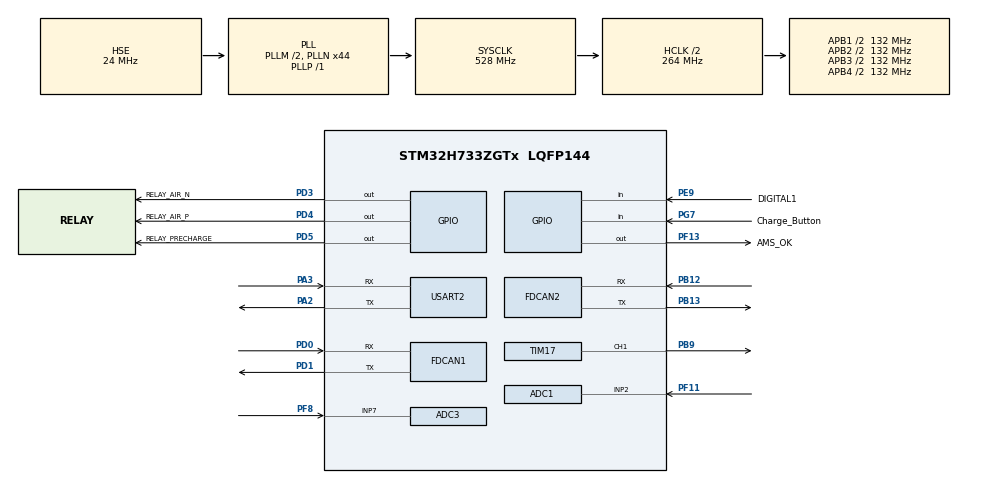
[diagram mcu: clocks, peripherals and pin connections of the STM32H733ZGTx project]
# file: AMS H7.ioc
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ADC1.Channel-1\#ChannelRegularConversion=ADC_CHANNEL_2
ADC1.NbrOfConversion=1
ADC1.NbrOfConversionFlag=1
ADC1.OffsetNumber-1\#ChannelRegularConversion=ADC_OFFSET_NONE
ADC1.OffsetSignedSaturation-1\#ChannelRegularConversion=DISABLE
ADC1.OversamplingMode=ENABLE
ADC1.Rank-1\#ChannelRegularConversion=1
ADC1.Ratio=64
ADC1.Resolution=ADC_RESOLUTION_12B
ADC1.RightBitShift=ADC_RIGHTBITSHIFT_6
ADC1.SamplingTime-1\#ChannelRegularConversion=ADC_SAMPLETIME_1CYCLE_5
ADC1.master=1
ADC3.Channel-2\#ChannelRegularConversion=ADC_CHANNEL_7
ADC3.NbrOfConversionFlag=1
ADC3.OffsetNumber-2\#ChannelRegularConversion=ADC_OFFSET_NONE
ADC3.OffsetSign-2\#ChannelRegularConversion=ADC3_OFFSET_SIGN_NEGATIVE
ADC3.Rank-2\#ChannelRegularConversion=1
ADC3.ResolutionADC3=ADC_RESOLUTION_10B
ADC3.SamplingTime-2\#ChannelRegularConversion=ADC3_SAMPLETIME_2CYCLES_5
FDCAN1.CalculateBaudRateNominal=500000
FDCAN1.CalculateTimeBitNominal=2000
FDCAN1.CalculateTimeQuantumNominal=125.0
FDCAN1.ExtFiltersNbr=5
FDCAN1.FrameFormat=FDCAN_FRAME_FD_NO_BRS
FDCAN1.NominalPrescaler=3
FDCAN1.NominalTimeSeg1=10
FDCAN1.NominalTimeSeg2=5
FDCAN1.RxBuffersNbr=1
FDCAN1.RxFifo0ElmtsNbr=32
FDCAN1.RxFifo1ElmtsNbr=32
FDCAN1.StdFiltersNbr=0
FDCAN1.TxBuffersNbr=32
FDCAN1.TxEventsNbr=1
FDCAN1.TxFifoQueueElmtsNbr=32
FDCAN2.CalculateBaudRateNominal=500000
FDCAN2.CalculateTimeBitNominal=2000
FDCAN2.CalculateTimeQuantumNominal=125.0
FDCAN2.ExtFiltersNbr=5
FDCAN2.FrameFormat=FDCAN_FRAME_FD_NO_BRS
FDCAN2.NominalPrescaler=3
FDCAN2.NominalTimeSeg1=10
FDCAN2.NominalTimeSeg2=5
FDCAN2.RxBuffersNbr=1
FDCAN2.RxFifo0ElmtsNbr=32
FDCAN2.RxFifo1ElmtsNbr=32
FDCAN2.StdFiltersNbr=0
FDCAN2.TxBuffersNbr=32
FDCAN2.TxEventsNbr=1
FDCAN2.TxFifoQueueElmtsNbr=32
Mcu.Family=STM32H7
Mcu.Name=STM32H733ZGTx
Mcu.Package=LQFP144
NVIC.FDCAN1_IT0_IRQn=true\:0\:0\:false\:false\:true\:true\:true\:true
NVIC.PriorityGroup=NVIC_PRIORITYGROUP_4
PA2.Mode=Asynchronous
PA2.Signal=USART2_TX
PA3.Mode=Asynchronous
PA3.Signal=USART2_RX
PB12.Mode=FDCAN_Activate
PB12.Signal=FDCAN2_RX
PB13.Mode=FDCAN_Activate
PB13.Signal=FDCAN2_TX
PB9.Signal=S_TIM17_CH1
PD0.Mode=FDCAN_Activate
PD0.Signal=FDCAN1_RX
PD1.Mode=FDCAN_Activate
PD1.Signal=FDCAN1_TX
PD3.GPIO_Label=RELAY_AIR_N
PD3.Signal=GPIO_Output
PD4.GPIO_Label=RELAY_AIR_P
PD4.Signal=GPIO_Output
PD5.GPIO_Label=RELAY_PRECHARGE
PD5.Signal=GPIO_Output
PE9.GPIO_Label=DIGITAL1
PE9.Signal=GPIO_Input
PF11.Mode=IN2-Single-Ended
PF11.Signal=ADC1_INP2
PF13.GPIO_Label=AMS_OK
PF13.Signal=GPIO_Output
PF8.Mode=IN7-Single-Ended
PF8.Signal=ADC3_INP7
PG7.GPIO_Label=Charge_Button
PG7.Signal=GPIO_Input
PH0-OSC_IN.Mode=HSE-External-Oscillator
PH0-OSC_IN.Signal=RCC_OSC_IN
PH1-OSC_OUT.Mode=HSE-External-Oscillator
PH1-OSC_OUT.Signal=RCC_OSC_OUT
ProjectManager.HeapSize=0x200
ProjectManager.StackSize=0x400
ProjectManager.TargetToolchain=STM32CubeIDE
RCC.ADCFreq_Value=96000000
RCC.APB1Freq_Value=132000000
RCC.APB2Freq_Value=132000000
RCC.APB3Freq_Value=132000000
RCC.APB4Freq_Value=132000000
RCC.CortexFreq_Value=528000000
RCC.D1PPRE=RCC_APB3_DIV2
RCC.D2PPRE1=RCC_APB1_DIV2
RCC.D2PPRE2=RCC_APB2_DIV2
RCC.D3PPRE=RCC_APB4_DIV2
RCC.DIVM1=2
RCC.DIVM2=2
RCC.DIVN1=44
RCC.DIVN2=16
RCC.DIVP1=1
RCC.DIVQ1=4
RCC.FDCANCLockSelection=RCC_FDCANCLKSOURCE_HSE
RCC.HCLKFreq_Value=264000000
RCC.HPRE=RCC_HCLK_DIV2
RCC.HSE_VALUE=24000000
RCC.PLL2FRACN=0
RCC.PLLFRACN=0
RCC.PLLSourceVirtual=RCC_PLLSOURCE_HSE
RCC.SYSCLKFreq_VALUE=528000000
RCC.SYSCLKSource=RCC_SYSCLKSOURCE_PLLCLK
RCC.USBFreq_Value=132000000
SH.S_TIM17_CH1.0=TIM17_CH1,PWM Generation1 CH1
TIM17.AutoReloadPreload=TIM_AUTORELOAD_PRELOAD_ENABLE
TIM17.Channel=TIM_CHANNEL_1
TIM17.Period=10559
USART2.VirtualMode-Asynchronous=VM_ASYNC
VP_MEMORYMAP_VS_MEMORYMAP.Mode=CurAppReg
VP_TIM17_VS_ClockSourceINT.Mode=Enable_Timer
board=custom

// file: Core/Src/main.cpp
/* USER CODE BEGIN Header */
/**
  ******************************************************************************
  * @file           : main.c
  * @brief          : Main program body
  ******************************************************************************
  * @attention
  *
  * Copyright (c) 2024 STMicroelectronics.
  * All rights reserved.
  *
  * This software is licensed under terms that can be found in the LICENSE file
  * in the root directory of this software component.
  * If no LICENSE file comes with this software, it is provided AS-IS.
  *
  ******************************************************************************
  */
/* USER CODE END Header */
#include "main.h"

/* USER CODE BEGIN Includes */
#include "module_state_machine.h"
#include <stdio.h>
#include <string.h>
#include <stdlib.h>
/* USER CODE END Includes */

ADC_HandleTypeDef hadc1;
ADC_HandleTypeDef hadc3;

FDCAN_HandleTypeDef hfdcan1;
FDCAN_HandleTypeDef hfdcan2;

TIM_HandleTypeDef htim17;

UART_HandleTypeDef huart2;

/* USER CODE BEGIN PV */
//hfdcan1 Acumulator
//hfdcan2 BMS

FDCAN_TxHeaderTypeDef TxHeader_acu;
FDCAN_TxHeaderTypeDef TxHeader_bms;

FDCAN_RxHeaderTypeDef RxHeader_acu;
FDCAN_RxHeaderTypeDef RxHeader_bms;

uint8_t RxData[8];

char uart_msg[100];

int cellAux[38];
/* USER CODE END PV */

void SystemClock_Config(void);
void PeriphCommonClock_Config(void);
static void MX_GPIO_Init(void);
static void MX_FDCAN2_Init(void);
static void MX_FDCAN1_Init(void);
static void MX_USART2_UART_Init(void);
static void MX_ADC1_Init(void);
static void MX_ADC3_Init(void);
static void MX_TIM17_Init(void);

/* USER CODE BEGIN 0 */

struct CANMsg msg_bms, msg_acu;

/* USER CODE END 0 */

int main(void)
{

  /* MCU Configuration--------------------------------------------------------*/

  /* Reset of all peripherals, Initializes the Flash interface and the Systick. */
  HAL_Init();

  /* Configure the system clock */
  SystemClock_Config();

  /* Configure the peripherals common clocks */
  PeriphCommonClock_Config();

  /* Initialize all configured peripherals */
  MX_GPIO_Init();
  MX_FDCAN2_Init();
  MX_FDCAN1_Init();
  MX_USART2_UART_Init();
  MX_ADC1_Init();
  MX_ADC3_Init();
  MX_TIM17_Init();
  /* USER CODE BEGIN 2 */

  HAL_TIM_PWM_Start(&htim17, TIM_CHANNEL_1);

  if (HAL_FDCAN_Start(&hfdcan1) == HAL_OK){
	  print((char*)"CAN_ACU iniciado");
  }
  if (HAL_FDCAN_ActivateNotification(&hfdcan1, FDCAN_IT_RX_FIFO0_NEW_MESSAGE, 0) == HAL_OK)
  {
	  print((char*)"CAN_ACU notification");
  }

  if (HAL_FDCAN_Start(&hfdcan2) == HAL_OK){
	  print((char*)"CAN_BMS iniciado");
  }

  if(HAL_ADC_Start(&hadc3) == HAL_OK){
	  print((char*)"ADC iniciado");
  }

  //HAL_GPIO_WritePin(FANS_GPIO_Port, FANS_Pin, GPIO_PIN_SET);
  //HAL_GPIO_WritePin(A1_GPIO_Port, A1_Pin, GPIO_PIN_RESET);

  //setup_state_machine();

  /* USER CODE END 2 */

  /* Infinite loop */
  /* USER CODE BEGIN WHILE */
  while (1)
  {
	  select_state();

	  /*if (HAL_FDCAN_GetRxMessage(&hfdcan1, FDCAN_RX_FIFO0, &RxHeader_acu, RxData) == HAL_OK) {
		  msg_acu.id = RxHeader_acu.Identifier;
		  msg_acu.len = RxHeader_acu.DataLength;
		  for (int i = 0; i < 8; i++) {msg_acu.buf[i] = RxData[i];}
		  msg_acu.bus = 1;
		  msg_acu.time = HAL_GetTick();
		  parse_state(msg_acu);
	  }*/

	  if (HAL_FDCAN_GetRxMessage(&hfdcan2, FDCAN_RX_FIFO0, &RxHeader_bms, RxData) == HAL_OK) {

		  msg_bms.id = RxHeader_bms.Identifier;
		  msg_bms.len = RxHeader_bms.DataLength;
		  for (int i = 0; i < 8; i++) {msg_bms.buf[i] = RxData[i];}
		  msg_bms.bus = 2;
		  msg_bms.time = HAL_GetTick();

		  parse_state(msg_bms);
	  }
    /* USER CODE END WHILE */

  }
}

void SystemClock_Config(void)
{
  RCC_OscInitTypeDef RCC_OscInitStruct = {0};
  RCC_ClkInitTypeDef RCC_ClkInitStruct = {0};

  /** Supply configuration update enable
  */
  HAL_PWREx_ConfigSupply(PWR_LDO_SUPPLY);

  /** Configure the main internal regulator output voltage
  */
  __HAL_PWR_VOLTAGESCALING_CONFIG(PWR_REGULATOR_VOLTAGE_SCALE0);

  while(!__HAL_PWR_GET_FLAG(PWR_FLAG_VOSRDY)) {}

  /** Initializes the RCC Oscillators according to the specified parameters
  * in the RCC_OscInitTypeDef structure.
  */
  RCC_OscInitStruct.OscillatorType = RCC_OSCILLATORTYPE_HSE;
  RCC_OscInitStruct.HSEState = RCC_HSE_ON;
  RCC_OscInitStruct.PLL.PLLState = RCC_PLL_ON;
  RCC_OscInitStruct.PLL.PLLSource = RCC_PLLSOURCE_HSE;
  RCC_OscInitStruct.PLL.PLLM = 2;
  RCC_OscInitStruct.PLL.PLLN = 44;
  RCC_OscInitStruct.PLL.PLLP = 1;
  RCC_OscInitStruct.PLL.PLLQ = 4;
  RCC_OscInitStruct.PLL.PLLR = 2;
  RCC_OscInitStruct.PLL.PLLRGE = RCC_PLL1VCIRANGE_3;
  RCC_OscInitStruct.PLL.PLLVCOSEL = RCC_PLL1VCOWIDE;
  RCC_OscInitStruct.PLL.PLLFRACN = 0;
  if (HAL_RCC_OscConfig(&RCC_OscInitStruct) != HAL_OK)
  {
    Error_Handler();
  }

  /** Initializes the CPU, AHB and APB buses clocks
  */
  RCC_ClkInitStruct.ClockType = RCC_CLOCKTYPE_HCLK|RCC_CLOCKTYPE_SYSCLK
                              |RCC_CLOCKTYPE_PCLK1|RCC_CLOCKTYPE_PCLK2
                              |RCC_CLOCKTYPE_D3PCLK1|RCC_CLOCKTYPE_D1PCLK1;
  RCC_ClkInitStruct.SYSCLKSource = RCC_SYSCLKSOURCE_PLLCLK;
  RCC_ClkInitStruct.SYSCLKDivider = RCC_SYSCLK_DIV1;
  RCC_ClkInitStruct.AHBCLKDivider = RCC_HCLK_DIV2;
  RCC_ClkInitStruct.APB3CLKDivider = RCC_APB3_DIV2;
  RCC_ClkInitStruct.APB1CLKDivider = RCC_APB1_DIV2;
  RCC_ClkInitStruct.APB2CLKDivider = RCC_APB2_DIV2;
  RCC_ClkInitStruct.APB4CLKDivider = RCC_APB4_DIV2;

  if (HAL_RCC_ClockConfig(&RCC_ClkInitStruct, FLASH_LATENCY_3) != HAL_OK)
  {
    Error_Handler();
  }
}

void PeriphCommonClock_Config(void)
{
  RCC_PeriphCLKInitTypeDef PeriphClkInitStruct = {0};

  /** Initializes the peripherals clock
  */
  PeriphClkInitStruct.PeriphClockSelection = RCC_PERIPHCLK_ADC;
  PeriphClkInitStruct.PLL2.PLL2M = 2;
  PeriphClkInitStruct.PLL2.PLL2N = 16;
  PeriphClkInitStruct.PLL2.PLL2P = 2;
  PeriphClkInitStruct.PLL2.PLL2Q = 2;
  PeriphClkInitStruct.PLL2.PLL2R = 2;
  PeriphClkInitStruct.PLL2.PLL2RGE = RCC_PLL2VCIRANGE_3;
  PeriphClkInitStruct.PLL2.PLL2VCOSEL = RCC_PLL2VCOWIDE;
  PeriphClkInitStruct.PLL2.PLL2FRACN = 0;
  PeriphClkInitStruct.AdcClockSelection = RCC_ADCCLKSOURCE_PLL2;
  if (HAL_RCCEx_PeriphCLKConfig(&PeriphClkInitStruct) != HAL_OK)
  {
    Error_Handler();
  }
}

static void MX_ADC1_Init(void)
{

  ADC_MultiModeTypeDef multimode = {0};
  ADC_ChannelConfTypeDef sConfig = {0};

  /** Common config
  */
  hadc1.Instance = ADC1;
  hadc1.Init.ClockPrescaler = ADC_CLOCK_ASYNC_DIV1;
  hadc1.Init.Resolution = ADC_RESOLUTION_12B;
  hadc1.Init.ScanConvMode = ADC_SCAN_DISABLE;
  hadc1.Init.EOCSelection = ADC_EOC_SINGLE_CONV;
  hadc1.Init.LowPowerAutoWait = DISABLE;
  hadc1.Init.ContinuousConvMode = DISABLE;
  hadc1.Init.NbrOfConversion = 1;
  hadc1.Init.DiscontinuousConvMode = DISABLE;
  hadc1.Init.ExternalTrigConv = ADC_SOFTWARE_START;
  hadc1.Init.ExternalTrigConvEdge = ADC_EXTERNALTRIGCONVEDGE_NONE;
  hadc1.Init.ConversionDataManagement = ADC_CONVERSIONDATA_DR;
  hadc1.Init.Overrun = ADC_OVR_DATA_PRESERVED;
  hadc1.Init.LeftBitShift = ADC_LEFTBITSHIFT_NONE;
  hadc1.Init.OversamplingMode = ENABLE;
  hadc1.Init.Oversampling.Ratio = 64;
  hadc1.Init.Oversampling.RightBitShift = ADC_RIGHTBITSHIFT_6;
  hadc1.Init.Oversampling.TriggeredMode = ADC_TRIGGEREDMODE_SINGLE_TRIGGER;
  hadc1.Init.Oversampling.OversamplingStopReset = ADC_REGOVERSAMPLING_CONTINUED_MODE;
  if (HAL_ADC_Init(&hadc1) != HAL_OK)
  {
    Error_Handler();
  }

  /** Configure the ADC multi-mode
  */
  multimode.Mode = ADC_MODE_INDEPENDENT;
  if (HAL_ADCEx_MultiModeConfigChannel(&hadc1, &multimode) != HAL_OK)
  {
    Error_Handler();
  }

  /** Configure Regular Channel
  */
  sConfig.Channel = ADC_CHANNEL_2;
  sConfig.Rank = ADC_REGULAR_RANK_1;
  sConfig.SamplingTime = ADC_SAMPLETIME_1CYCLE_5;
  sConfig.SingleDiff = ADC_SINGLE_ENDED;
  sConfig.OffsetNumber = ADC_OFFSET_NONE;
  sConfig.Offset = 0;
  sConfig.OffsetSignedSaturation = DISABLE;
  if (HAL_ADC_ConfigChannel(&hadc1, &sConfig) != HAL_OK)
  {
    Error_Handler();
  }

}

static void MX_ADC3_Init(void)
{

  ADC_ChannelConfTypeDef sConfig = {0};

  /** Common config
  */
  hadc3.Instance = ADC3;
  hadc3.Init.ClockPrescaler = ADC_CLOCK_ASYNC_DIV1;
  hadc3.Init.Resolution = ADC_RESOLUTION_10B;
  hadc3.Init.DataAlign = ADC3_DATAALIGN_RIGHT;
  hadc3.Init.ScanConvMode = ADC_SCAN_DISABLE;
  hadc3.Init.EOCSelection = ADC_EOC_SINGLE_CONV;
  hadc3.Init.LowPowerAutoWait = DISABLE;
  hadc3.Init.ContinuousConvMode = DISABLE;
  hadc3.Init.NbrOfConversion = 1;
  hadc3.Init.DiscontinuousConvMode = DISABLE;
  hadc3.Init.ExternalTrigConv = ADC_SOFTWARE_START;
  hadc3.Init.ExternalTrigConvEdge = ADC_EXTERNALTRIGCONVEDGE_NONE;
  hadc3.Init.DMAContinuousRequests = DISABLE;
  hadc3.Init.SamplingMode = ADC_SAMPLING_MODE_NORMAL;
  hadc3.Init.ConversionDataManagement = ADC_CONVERSIONDATA_DR;
  hadc3.Init.Overrun = ADC_OVR_DATA_PRESERVED;
  hadc3.Init.LeftBitShift = ADC_LEFTBITSHIFT_NONE;
  hadc3.Init.OversamplingMode = DISABLE;
  hadc3.Init.Oversampling.Ratio = ADC3_OVERSAMPLING_RATIO_2;
  if (HAL_ADC_Init(&hadc3) != HAL_OK)
  {
    Error_Handler();
  }

  /** Configure Regular Channel
  */
  sConfig.Channel = ADC_CHANNEL_7;
  sConfig.Rank = ADC_REGULAR_RANK_1;
  sConfig.SamplingTime = ADC3_SAMPLETIME_2CYCLES_5;
  sConfig.SingleDiff = ADC_SINGLE_ENDED;
  sConfig.OffsetNumber = ADC_OFFSET_NONE;
  sConfig.Offset = 0;
  sConfig.OffsetSign = ADC3_OFFSET_SIGN_NEGATIVE;
  if (HAL_ADC_ConfigChannel(&hadc3, &sConfig) != HAL_OK)
  {
    Error_Handler();
  }

}

static void MX_FDCAN1_Init(void)
{

  hfdcan1.Instance = FDCAN1;
  hfdcan1.Init.FrameFormat = FDCAN_FRAME_FD_NO_BRS;
  hfdcan1.Init.Mode = FDCAN_MODE_NORMAL;
  hfdcan1.Init.AutoRetransmission = DISABLE;
  hfdcan1.Init.TransmitPause = DISABLE;
  hfdcan1.Init.ProtocolException = DISABLE;
  hfdcan1.Init.NominalPrescaler = 3;
  hfdcan1.Init.NominalSyncJumpWidth = 1;
  hfdcan1.Init.NominalTimeSeg1 = 10;
  hfdcan1.Init.NominalTimeSeg2 = 5;
  hfdcan1.Init.DataPrescaler = 1;
  hfdcan1.Init.DataSyncJumpWidth = 1;
  hfdcan1.Init.DataTimeSeg1 = 1;
  hfdcan1.Init.DataTimeSeg2 = 1;
  hfdcan1.Init.MessageRAMOffset = 0;
  hfdcan1.Init.StdFiltersNbr = 0;
  hfdcan1.Init.ExtFiltersNbr = 5;
  hfdcan1.Init.RxFifo0ElmtsNbr = 32;
  hfdcan1.Init.RxFifo0ElmtSize = FDCAN_DATA_BYTES_8;
  hfdcan1.Init.RxFifo1ElmtsNbr = 32;
  hfdcan1.Init.RxFifo1ElmtSize = FDCAN_DATA_BYTES_8;
  hfdcan1.Init.RxBuffersNbr = 1;
  hfdcan1.Init.RxBufferSize = FDCAN_DATA_BYTES_8;
  hfdcan1.Init.TxEventsNbr = 1;
  hfdcan1.Init.TxBuffersNbr = 32;
  hfdcan1.Init.TxFifoQueueElmtsNbr = 32;
  hfdcan1.Init.TxFifoQueueMode = FDCAN_TX_FIFO_OPERATION;
  hfdcan1.Init.TxElmtSize = FDCAN_DATA_BYTES_8;
  if (HAL_FDCAN_Init(&hfdcan1) != HAL_OK)
  {
    Error_Handler();
  }
  /* USER CODE BEGIN FDCAN1_Init 2 */
  FDCAN_FilterTypeDef sFilterConfig;
  sFilterConfig.IdType = FDCAN_EXTENDED_ID;
  sFilterConfig.FilterIndex = 0;
  sFilterConfig.FilterType = FDCAN_FILTER_MASK;
  sFilterConfig.FilterConfig = FDCAN_FILTER_TO_RXFIFO0;
  sFilterConfig.FilterID1 = 0x0;
  sFilterConfig.FilterID2 = 0x0;
  if (HAL_FDCAN_ConfigFilter(&hfdcan1, &sFilterConfig) != HAL_OK)
  {
    Error_Handler();
  }
  /* USER CODE END FDCAN1_Init 2 */

}

static void MX_FDCAN2_Init(void)
{

  hfdcan2.Instance = FDCAN2;
  hfdcan2.Init.FrameFormat = FDCAN_FRAME_FD_NO_BRS;
  hfdcan2.Init.Mode = FDCAN_MODE_NORMAL;
  hfdcan2.Init.AutoRetransmission = DISABLE;
  hfdcan2.Init.TransmitPause = DISABLE;
  hfdcan2.Init.ProtocolException = DISABLE;
  hfdcan2.Init.NominalPrescaler = 3;
  hfdcan2.Init.NominalSyncJumpWidth = 1;
  hfdcan2.Init.NominalTimeSeg1 = 10;
  hfdcan2.Init.NominalTimeSeg2 = 5;
  hfdcan2.Init.DataPrescaler = 1;
  hfdcan2.Init.DataSyncJumpWidth = 1;
  hfdcan2.Init.DataTimeSeg1 = 1;
  hfdcan2.Init.DataTimeSeg2 = 1;
  hfdcan2.Init.MessageRAMOffset = 0;
  hfdcan2.Init.StdFiltersNbr = 0;
  hfdcan2.Init.ExtFiltersNbr = 5;
  hfdcan2.Init.RxFifo0ElmtsNbr = 32;
  hfdcan2.Init.RxFifo0ElmtSize = FDCAN_DATA_BYTES_8;
  hfdcan2.Init.RxFifo1ElmtsNbr = 32;
  hfdcan2.Init.RxFifo1ElmtSize = FDCAN_DATA_BYTES_8;
  hfdcan2.Init.RxBuffersNbr = 1;
  hfdcan2.Init.RxBufferSize = FDCAN_DATA_BYTES_8;
  hfdcan2.Init.TxEventsNbr = 1;
  hfdcan2.Init.TxBuffersNbr = 32;
  hfdcan2.Init.TxFifoQueueElmtsNbr = 32;
  hfdcan2.Init.TxFifoQueueMode = FDCAN_TX_FIFO_OPERATION;
  hfdcan2.Init.TxElmtSize = FDCAN_DATA_BYTES_8;
  if (HAL_FDCAN_Init(&hfdcan2) != HAL_OK)
  {
    Error_Handler();
  }
  /* USER CODE BEGIN FDCAN2_Init 2 */
  FDCAN_FilterTypeDef sFilterConfig;
  sFilterConfig.IdType = FDCAN_EXTENDED_ID;
  sFilterConfig.FilterIndex = 0;
  sFilterConfig.FilterType = FDCAN_FILTER_MASK;
  sFilterConfig.FilterConfig = FDCAN_FILTER_TO_RXFIFO0;
  sFilterConfig.FilterID1 = 0x10;
  sFilterConfig.FilterID2 = 0x10;
  if (HAL_FDCAN_ConfigFilter(&hfdcan2, &sFilterConfig) != HAL_OK)
  {
    Error_Handler();
  }
  /* USER CODE END FDCAN2_Init 2 */

}

static void MX_TIM17_Init(void)
{

  TIM_OC_InitTypeDef sConfigOC = {0};
  TIM_BreakDeadTimeConfigTypeDef sBreakDeadTimeConfig = {0};

  htim17.Instance = TIM17;
  htim17.Init.Prescaler = 0;
  htim17.Init.CounterMode = TIM_COUNTERMODE_UP;
  htim17.Init.Period = 10559;
  htim17.Init.ClockDivision = TIM_CLOCKDIVISION_DIV1;
  htim17.Init.RepetitionCounter = 0;
  htim17.Init.AutoReloadPreload = TIM_AUTORELOAD_PRELOAD_ENABLE;
  if (HAL_TIM_Base_Init(&htim17) != HAL_OK)
  {
    Error_Handler();
  }
  if (HAL_TIM_PWM_Init(&htim17) != HAL_OK)
  {
    Error_Handler();
  }
  sConfigOC.OCMode = TIM_OCMODE_PWM1;
  sConfigOC.Pulse = 0;
  sConfigOC.OCPolarity = TIM_OCPOLARITY_HIGH;
  sConfigOC.OCNPolarity = TIM_OCNPOLARITY_HIGH;
  sConfigOC.OCFastMode = TIM_OCFAST_DISABLE;
  sConfigOC.OCIdleState = TIM_OCIDLESTATE_RESET;
  sConfigOC.OCNIdleState = TIM_OCNIDLESTATE_RESET;
  if (HAL_TIM_PWM_ConfigChannel(&htim17, &sConfigOC, TIM_CHANNEL_1) != HAL_OK)
  {
    Error_Handler();
  }
  sBreakDeadTimeConfig.OffStateRunMode = TIM_OSSR_DISABLE;
  sBreakDeadTimeConfig.OffStateIDLEMode = TIM_OSSI_DISABLE;
  sBreakDeadTimeConfig.LockLevel = TIM_LOCKLEVEL_OFF;
  sBreakDeadTimeConfig.DeadTime = 0;
  sBreakDeadTimeConfig.BreakState = TIM_BREAK_DISABLE;
  sBreakDeadTimeConfig.BreakPolarity = TIM_BREAKPOLARITY_HIGH;
  sBreakDeadTimeConfig.BreakFilter = 0;
  sBreakDeadTimeConfig.AutomaticOutput = TIM_AUTOMATICOUTPUT_DISABLE;
  if (HAL_TIMEx_ConfigBreakDeadTime(&htim17, &sBreakDeadTimeConfig) != HAL_OK)
  {
    Error_Handler();
  }
  HAL_TIM_MspPostInit(&htim17);

}

static void MX_USART2_UART_Init(void)
{

  huart2.Instance = USART2;
  huart2.Init.BaudRate = 115200;
  huart2.Init.WordLength = UART_WORDLENGTH_8B;
  huart2.Init.StopBits = UART_STOPBITS_1;
  huart2.Init.Parity = UART_PARITY_NONE;
  huart2.Init.Mode = UART_MODE_TX_RX;
  huart2.Init.HwFlowCtl = UART_HWCONTROL_NONE;
  huart2.Init.OverSampling = UART_OVERSAMPLING_16;
  huart2.Init.OneBitSampling = UART_ONE_BIT_SAMPLE_DISABLE;
  huart2.Init.ClockPrescaler = UART_PRESCALER_DIV1;
  huart2.AdvancedInit.AdvFeatureInit = UART_ADVFEATURE_NO_INIT;
  if (HAL_UART_Init(&huart2) != HAL_OK)
  {
    Error_Handler();
  }
  if (HAL_UARTEx_SetTxFifoThreshold(&huart2, UART_TXFIFO_THRESHOLD_1_8) != HAL_OK)
  {
    Error_Handler();
  }
  if (HAL_UARTEx_SetRxFifoThreshold(&huart2, UART_RXFIFO_THRESHOLD_1_8) != HAL_OK)
  {
    Error_Handler();
  }
  if (HAL_UARTEx_DisableFifoMode(&huart2) != HAL_OK)
  {
    Error_Handler();
  }

}

static void MX_GPIO_Init(void)
{
  GPIO_InitTypeDef GPIO_InitStruct = {0};

  /* GPIO Ports Clock Enable */
  __HAL_RCC_GPIOF_CLK_ENABLE();
  __HAL_RCC_GPIOH_CLK_ENABLE();
  __HAL_RCC_GPIOA_CLK_ENABLE();
  __HAL_RCC_GPIOE_CLK_ENABLE();
  __HAL_RCC_GPIOB_CLK_ENABLE();
  __HAL_RCC_GPIOG_CLK_ENABLE();
  __HAL_RCC_GPIOD_CLK_ENABLE();

  /*Configure GPIO pin Output Level */
  HAL_GPIO_WritePin(AMS_OK_GPIO_Port, AMS_OK_Pin, GPIO_PIN_RESET);

  /*Configure GPIO pin Output Level */
  HAL_GPIO_WritePin(GPIOD, RELAY_AIR_N_Pin|RELAY_AIR_P_Pin|RELAY_PRECHARGE_Pin, GPIO_PIN_RESET);

  /*Configure GPIO pin : AMS_OK_Pin */
  GPIO_InitStruct.Pin = AMS_OK_Pin;
  GPIO_InitStruct.Mode = GPIO_MODE_OUTPUT_PP;
  GPIO_InitStruct.Pull = GPIO_NOPULL;
  GPIO_InitStruct.Speed = GPIO_SPEED_FREQ_LOW;
  HAL_GPIO_Init(AMS_OK_GPIO_Port, &GPIO_InitStruct);

  /*Configure GPIO pin : DIGITAL1_Pin */
  GPIO_InitStruct.Pin = DIGITAL1_Pin;
  GPIO_InitStruct.Mode = GPIO_MODE_INPUT;
  GPIO_InitStruct.Pull = GPIO_NOPULL;
  HAL_GPIO_Init(DIGITAL1_GPIO_Port, &GPIO_InitStruct);

  /*Configure GPIO pin : Charge_Button_Pin */
  GPIO_InitStruct.Pin = Charge_Button_Pin;
  GPIO_InitStruct.Mode = GPIO_MODE_INPUT;
  GPIO_InitStruct.Pull = GPIO_NOPULL;
  HAL_GPIO_Init(Charge_Button_GPIO_Port, &GPIO_InitStruct);

  /*Configure GPIO pins : RELAY_AIR_N_Pin RELAY_AIR_P_Pin RELAY_PRECHARGE_Pin */
  GPIO_InitStruct.Pin = RELAY_AIR_N_Pin|RELAY_AIR_P_Pin|RELAY_PRECHARGE_Pin;
  GPIO_InitStruct.Mode = GPIO_MODE_OUTPUT_PP;
  GPIO_InitStruct.Pull = GPIO_NOPULL;
  GPIO_InitStruct.Speed = GPIO_SPEED_FREQ_LOW;
  HAL_GPIO_Init(GPIOD, &GPIO_InitStruct);

}

/* USER CODE BEGIN 4 */

void HAL_FDCAN_RxFifo0Callback(FDCAN_HandleTypeDef *hfdcan, uint32_t RxFifo0ITs)
{
	if((RxFifo0ITs & FDCAN_IT_RX_FIFO0_NEW_MESSAGE) != RESET)
	{
    /* Retreive Rx messages from RX FIFO0 */
    if (HAL_FDCAN_GetRxMessage(hfdcan, FDCAN_RX_FIFO0, &RxHeader_acu, RxData) == HAL_OK)
    {
		msg_acu.id = RxHeader_acu.Identifier;
		msg_acu.len = RxHeader_acu.DataLength;
		for (int i = 0; i < 8; i++) {msg_acu.buf[i] = RxData[i];}
		msg_acu.bus = 1;
		msg_acu.time = HAL_GetTick();
		parse_state(msg_acu);

    }

    if (HAL_FDCAN_ActivateNotification(hfdcan, FDCAN_IT_RX_FIFO0_NEW_MESSAGE, 0) != HAL_OK)
    {
      /* Notification Error */
      Error_Handler();
    }
  }
}

//extended ID
HAL_StatusTypeDef module_send_message_CAN1(uint32_t id, uint8_t* data, uint8_t length) {
	TxHeader_acu.Identifier = id;
	TxHeader_acu.IdType = FDCAN_EXTENDED_ID;
	TxHeader_acu.DataLength = length;

	HAL_StatusTypeDef status = HAL_FDCAN_AddMessageToTxFifoQ(&hfdcan1, &TxHeader_acu, data);

	return status;
}

//NO extended ID
HAL_StatusTypeDef module_send_message_NoExtId_CAN1(uint32_t id, uint8_t* data, uint8_t length) {
	TxHeader_acu.Identifier = id;
	TxHeader_acu.IdType = FDCAN_STANDARD_ID;
	TxHeader_acu.DataLength = length;

	HAL_StatusTypeDef status = HAL_FDCAN_AddMessageToTxFifoQ(&hfdcan1, &TxHeader_acu, data);

	return status;
}

HAL_StatusTypeDef module_send_message_CAN2(uint32_t id, uint8_t* data, uint8_t length) {
	TxHeader_bms.Identifier = id;
	TxHeader_bms.IdType = FDCAN_STANDARD_ID;
	TxHeader_bms.DataLength = length;

	HAL_StatusTypeDef status = HAL_FDCAN_AddMessageToTxFifoQ(&hfdcan2, &TxHeader_bms, data);

	return status;
}

void print(char uart_buffer[]){
	sprintf(uart_msg, "%s \n\r", uart_buffer);
	HAL_UART_Transmit(&huart2,(uint8_t*)uart_msg,strlen(uart_msg),HAL_MAX_DELAY);
}

void printnl(char uart_buffer[]){
	sprintf(uart_msg, "%s", uart_buffer);
	HAL_UART_Transmit(&huart2,(uint8_t*)uart_msg,strlen(uart_msg),HAL_MAX_DELAY);
}

void printValue(int value){
	sprintf(uart_msg, "%hu \n\r", value);
	HAL_UART_Transmit(&huart2,(uint8_t*)uart_msg,strlen(uart_msg),HAL_MAX_DELAY);
}

HAL_UART_StateTypeDef getUARTState(){
	return HAL_UART_GetState(&huart2);
}

float readCurrentValue(void){
	/*float analogValue;

	HAL_ADC_Start(&hadc3);
	HAL_ADC_PollForConversion(&hadc3, HAL_MAX_DELAY);
	analogValue = HAL_ADC_GetValue(&hadc3);
	HAL_ADC_Stop(&hadc3);
	return analogValue;*/

	HAL_ADC_Start(&hadc1);
	HAL_ADC_PollForConversion(&hadc1, HAL_MAX_DELAY);

	float adc_value;
	float current;

	adc_value = HAL_ADC_GetValue(&hadc1);
	//current = ((0.2*adc_value) - 435)*1.15;
	//current = (0.2 * adc_value - 420.5)*1000;
	current = 1.42857 * adc_value - 192.857;

	//valor minimo = 2100

	HAL_ADC_Stop(&hadc1);
	printValue(current);
	return current;
}

float readAnalogValue(void){
	/*float analogValue;

	HAL_ADC_Start(&hadc3);
	HAL_ADC_PollForConversion(&hadc3, HAL_MAX_DELAY);
	analogValue = HAL_ADC_GetValue(&hadc3);
	HAL_ADC_Stop(&hadc3);
	return analogValue;*/

	HAL_ADC_Start(&hadc1);
	HAL_ADC_PollForConversion(&hadc1, HAL_MAX_DELAY);

	uint16_t adc_value;
	int current;

	adc_value = HAL_ADC_GetValue(&hadc1);
	//valor minimo = 2100

	HAL_ADC_Stop(&hadc1);
	return adc_value;
}
/* USER CODE END 4 */

void Error_Handler(void)
{
  __disable_irq();
  while (1)
  {
  }
}
